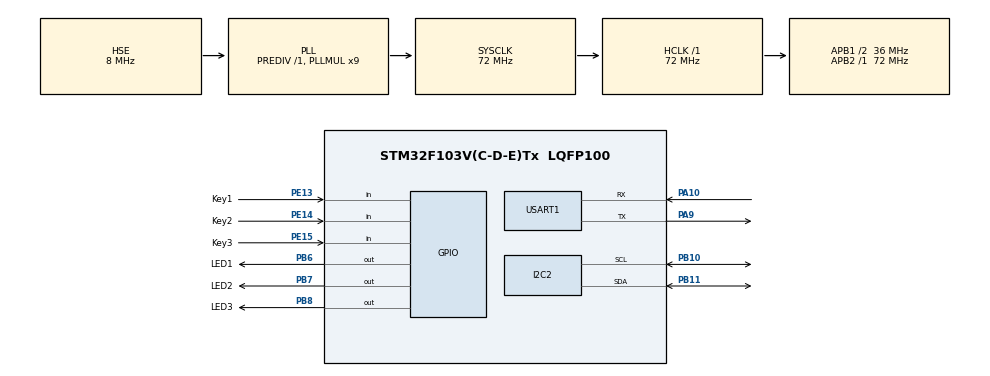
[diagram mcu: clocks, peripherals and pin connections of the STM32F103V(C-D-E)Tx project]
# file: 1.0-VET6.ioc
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Dma.I2C2_TX.0.Direction=DMA_MEMORY_TO_PERIPH
Dma.I2C2_TX.0.Instance=DMA1_Channel4
Dma.I2C2_TX.0.MemDataAlignment=DMA_MDATAALIGN_BYTE
Dma.I2C2_TX.0.MemInc=DMA_MINC_ENABLE
Dma.I2C2_TX.0.Mode=DMA_NORMAL
Dma.I2C2_TX.0.PeriphDataAlignment=DMA_PDATAALIGN_BYTE
Dma.I2C2_TX.0.PeriphInc=DMA_PINC_DISABLE
Dma.I2C2_TX.0.Priority=DMA_PRIORITY_MEDIUM
Dma.Request0=I2C2_TX
I2C2.DutyCycle=I2C_DUTYCYCLE_2
I2C2.I2C_Mode=I2C_Fast
Mcu.Family=STM32F1
Mcu.Name=STM32F103V(C-D-E)Tx
Mcu.Package=LQFP100
NVIC.DMA1_Channel4_IRQn=true\:0\:0\:true\:false\:true\:false\:true\:true
NVIC.I2C2_ER_IRQn=true\:0\:0\:false\:false\:true\:true\:true\:true
NVIC.I2C2_EV_IRQn=true\:0\:0\:false\:false\:true\:true\:true\:true
NVIC.PriorityGroup=NVIC_PRIORITYGROUP_4
NVIC.TIM2_IRQn=true\:0\:0\:false\:false\:true\:true\:true\:true
OSC_IN.Mode=HSE-External-Oscillator
OSC_IN.Signal=RCC_OSC_IN
OSC_OUT.Mode=HSE-External-Oscillator
OSC_OUT.Signal=RCC_OSC_OUT
PA10.Mode=Asynchronous
PA10.Signal=USART1_RX
PA13.Mode=Serial_Wire
PA13.Signal=SYS_JTMS-SWDIO
PA14.Mode=Serial_Wire
PA14.Signal=SYS_JTCK-SWCLK
PA9.Mode=Asynchronous
PA9.Signal=USART1_TX
PB10.Mode=I2C
PB10.Signal=I2C2_SCL
PB11.Mode=I2C
PB11.Signal=I2C2_SDA
PB6.GPIO_Label=LED1
PB6.GPIO_Speed=GPIO_SPEED_FREQ_HIGH
PB6.Signal=GPIO_Output
PB7.GPIO_Label=LED2
PB7.GPIO_Speed=GPIO_SPEED_FREQ_HIGH
PB7.Signal=GPIO_Output
PB8.GPIO_Label=LED3
PB8.GPIO_Speed=GPIO_SPEED_FREQ_HIGH
PB8.Signal=GPIO_Output
PC14-OSC32_IN.Mode=LSE-External-Oscillator
PC14-OSC32_IN.Signal=RCC_OSC32_IN
PC15-OSC32_OUT.Mode=LSE-External-Oscillator
PC15-OSC32_OUT.Signal=RCC_OSC32_OUT
PE13.GPIO_Label=Key1
PE13.GPIO_PuPd=GPIO_PULLUP
PE13.Signal=GPIO_Input
PE14.GPIO_Label=Key2
PE14.GPIO_PuPd=GPIO_PULLUP
PE14.Signal=GPIO_Input
PE15.GPIO_Label=Key3
PE15.GPIO_PuPd=GPIO_PULLUP
PE15.Signal=GPIO_Input
ProjectManager.HeapSize=0x200
ProjectManager.StackSize=0x400
ProjectManager.TargetToolchain=MDK-ARM V5.32
RCC.AHBFreq_Value=72000000
RCC.APB1CLKDivider=RCC_HCLK_DIV2
RCC.APB1Freq_Value=36000000
RCC.APB1TimFreq_Value=72000000
RCC.APB2Freq_Value=72000000
RCC.APB2TimFreq_Value=72000000
RCC.HCLKFreq_Value=72000000
RCC.PLLMUL=RCC_PLL_MUL9
RCC.PLLSourceVirtual=RCC_PLLSOURCE_HSE
RCC.RTCClockSelection=RCC_RTCCLKSOURCE_LSE
RCC.SYSCLKFreq_VALUE=72000000
RCC.SYSCLKSource=RCC_SYSCLKSOURCE_PLLCLK
RCC.USBFreq_Value=72000000
RTC.Date=26
RTC.Format=RTC_FORMAT_BIN
RTC.Hours=19
RTC.Minutes=40
RTC.Month=RTC_MONTH_APRIL
RTC.WeekDay=RTC_WEEKDAY_SUNDAY
RTC.Year=26
TIM2.Period=1000-1
TIM2.Prescaler=72-1
USART1.VirtualMode=VM_ASYNC
VP_RTC_VS_RTC_Activate.Mode=RTC_Enabled
VP_RTC_VS_RTC_Calendar.Mode=RTC_Calendar
VP_TIM2_VS_ClockSourceINT.Mode=Internal
board=custom

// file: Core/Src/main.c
/* USER CODE BEGIN Header */
/**
 ******************************************************************************
 * @file           : main.c
 * @brief          : Main program body
 ******************************************************************************
 * @attention
 *
 * Copyright (c) 2026 STMicroelectronics.
 * All rights reserved.
 *
 * This software is licensed under terms that can be found in the LICENSE file
 * in the root directory of this software component.
 * If no LICENSE file comes with this software, it is provided AS-IS.
 *
 ******************************************************************************
 */
/* USER CODE END Header */
#include "main.h"
#include "dma.h"
#include "i2c.h"
#include "rtc.h"
#include "tim.h"
#include "usart.h"
#include "gpio.h"

/* USER CODE BEGIN Includes */
#include "OLED.h"
#include "KEY.h"
#include "menu.h"
#include "LED.h"
/* USER CODE END Includes */

void SystemClock_Config(void);

int main(void)
{

  /* MCU Configuration--------------------------------------------------------*/

  /* Reset of all peripherals, Initializes the Flash interface and the Systick. */
  HAL_Init();

  /* Configure the system clock */
  SystemClock_Config();

  /* Initialize all configured peripherals */
  MX_GPIO_Init();
  MX_DMA_Init();
  MX_USART1_UART_Init();
  MX_I2C2_Init();
  MX_TIM2_Init();
  MX_RTC_Init();
  /* USER CODE BEGIN 2 */
  OLED_Init();

  /* USER CODE END 2 */

  /* Infinite loop */
  /* USER CODE BEGIN WHILE */
  while (1)
  {
    uint8_t menu2;
    /* USER CODE END WHILE */

    /* USER CODE BEGIN 3 */

    menu2 = menu1();
    switch (menu2)
    {
    case 1:
      menu1_x();
      break;
    case 2:
      menu2_x();
      break;
    case 3:
      menu3_x();
      break;
    case 4:
      menu4_x();
      break;
    case 5:
      menu5_x();
      break;
    case 6:
      menu6_x();
      break;
    case 7:
      menu7_x();
      break;
    case 8:
      menu8_x();
      break;
    default:
      break;
    }
  }
  /* USER CODE END 3 */
}

void SystemClock_Config(void)
{
  RCC_OscInitTypeDef RCC_OscInitStruct = {0};
  RCC_ClkInitTypeDef RCC_ClkInitStruct = {0};
  RCC_PeriphCLKInitTypeDef PeriphClkInit = {0};

  /** Initializes the RCC Oscillators according to the specified parameters
   * in the RCC_OscInitTypeDef structure.
   */
  RCC_OscInitStruct.OscillatorType = RCC_OSCILLATORTYPE_HSE | RCC_OSCILLATORTYPE_LSE;
  RCC_OscInitStruct.HSEState = RCC_HSE_ON;
  RCC_OscInitStruct.HSEPredivValue = RCC_HSE_PREDIV_DIV1;
  RCC_OscInitStruct.LSEState = RCC_LSE_ON;
  RCC_OscInitStruct.HSIState = RCC_HSI_ON;
  RCC_OscInitStruct.PLL.PLLState = RCC_PLL_ON;
  RCC_OscInitStruct.PLL.PLLSource = RCC_PLLSOURCE_HSE;
  RCC_OscInitStruct.PLL.PLLMUL = RCC_PLL_MUL9;
  if (HAL_RCC_OscConfig(&RCC_OscInitStruct) != HAL_OK)
  {
    Error_Handler();
  }

  /** Initializes the CPU, AHB and APB buses clocks
   */
  RCC_ClkInitStruct.ClockType = RCC_CLOCKTYPE_HCLK | RCC_CLOCKTYPE_SYSCLK | RCC_CLOCKTYPE_PCLK1 | RCC_CLOCKTYPE_PCLK2;
  RCC_ClkInitStruct.SYSCLKSource = RCC_SYSCLKSOURCE_PLLCLK;
  RCC_ClkInitStruct.AHBCLKDivider = RCC_SYSCLK_DIV1;
  RCC_ClkInitStruct.APB1CLKDivider = RCC_HCLK_DIV2;
  RCC_ClkInitStruct.APB2CLKDivider = RCC_HCLK_DIV1;

  if (HAL_RCC_ClockConfig(&RCC_ClkInitStruct, FLASH_LATENCY_2) != HAL_OK)
  {
    Error_Handler();
  }
  PeriphClkInit.PeriphClockSelection = RCC_PERIPHCLK_RTC;
  PeriphClkInit.RTCClockSelection = RCC_RTCCLKSOURCE_LSE;
  if (HAL_RCCEx_PeriphCLKConfig(&PeriphClkInit) != HAL_OK)
  {
    Error_Handler();
  }
}

void Error_Handler(void)
{
  __disable_irq();
  while (1)
  {
  }
}
